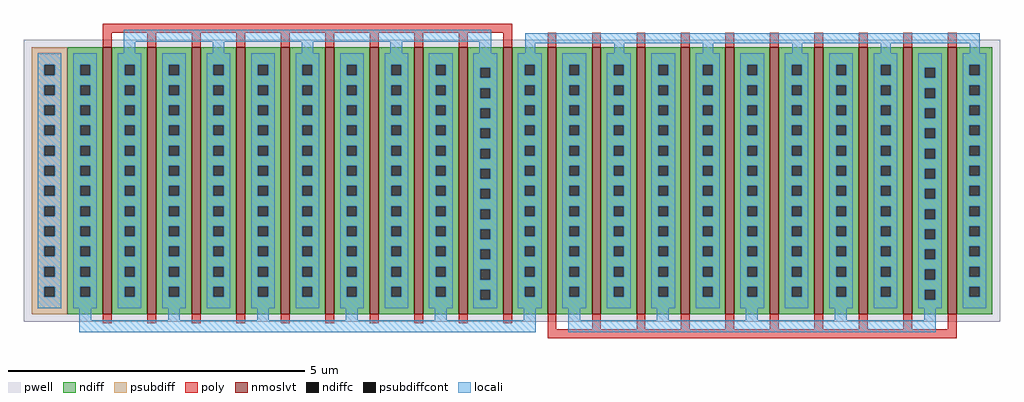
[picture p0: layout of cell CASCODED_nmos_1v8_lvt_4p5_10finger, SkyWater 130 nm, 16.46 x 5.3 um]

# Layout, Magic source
magic
tech sky130A
magscale 1 2
<< poly >>
rect -1824 239 -1794 260
rect -1674 239 -1644 260
rect -1524 239 -1494 260
rect -1374 239 -1344 260
rect -1224 239 -1194 260
rect -1074 239 -1044 260
rect -924 239 -894 260
rect -774 239 -744 260
rect -624 239 -594 260
rect -474 239 -444 260
rect -1824 209 -444 239
<< locali >>
rect -1900 1204 -366 1238
rect -1900 1170 -1866 1204
rect -1599 1170 -1565 1204
rect -1300 1170 -1266 1204
rect -999 1170 -965 1204
rect -700 1170 -666 1204
rect -400 1170 -366 1204
rect -1754 270 -1714 310
rect -1455 270 -1415 310
rect -1155 270 -1115 310
rect -855 270 -815 310
rect -554 270 -514 310
rect -1754 230 -514 270
use nmos_1v8_lvt_4p5_10finger$1$1  nmos_1v8_lvt_4p5_10finger$1$1_0
transform 1 0 -2024 0 1 260
box 54 0 1726 980
use nmos_1v8_lvt_4p5_body_10finger$2  nmos_1v8_lvt_4p5_body_10finger$2_0
transform 1 0 -3524 0 1 260
box -66 -30 1726 1010
<< end >>

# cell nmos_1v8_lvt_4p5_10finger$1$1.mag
magic
tech sky130A
magscale 1 2
<< pwell >>
rect 54 4 1726 956
<< nmoslvt >>
rect 200 30 230 930
rect 350 30 380 930
rect 500 30 530 930
rect 650 30 680 930
rect 800 30 830 930
rect 950 30 980 930
rect 1100 30 1130 930
rect 1250 30 1280 930
rect 1400 30 1430 930
rect 1550 30 1580 930
<< ndiff >>
rect 80 871 200 930
rect 80 837 123 871
rect 157 837 200 871
rect 80 803 200 837
rect 80 769 123 803
rect 157 769 200 803
rect 80 735 200 769
rect 80 701 123 735
rect 157 701 200 735
rect 80 667 200 701
rect 80 633 123 667
rect 157 633 200 667
rect 80 599 200 633
rect 80 565 123 599
rect 157 565 200 599
rect 80 531 200 565
rect 80 497 123 531
rect 157 497 200 531
rect 80 463 200 497
rect 80 429 123 463
rect 157 429 200 463
rect 80 395 200 429
rect 80 361 123 395
rect 157 361 200 395
rect 80 327 200 361
rect 80 293 123 327
rect 157 293 200 327
rect 80 259 200 293
rect 80 225 123 259
rect 157 225 200 259
rect 80 191 200 225
rect 80 157 123 191
rect 157 157 200 191
rect 80 123 200 157
rect 80 89 123 123
rect 157 89 200 123
rect 80 30 200 89
rect 230 871 350 930
rect 230 837 273 871
rect 307 837 350 871
rect 230 803 350 837
rect 230 769 273 803
rect 307 769 350 803
rect 230 735 350 769
rect 230 701 273 735
rect 307 701 350 735
rect 230 667 350 701
rect 230 633 273 667
rect 307 633 350 667
rect 230 599 350 633
rect 230 565 273 599
rect 307 565 350 599
rect 230 531 350 565
rect 230 497 273 531
rect 307 497 350 531
rect 230 463 350 497
rect 230 429 273 463
rect 307 429 350 463
rect 230 395 350 429
rect 230 361 273 395
rect 307 361 350 395
rect 230 327 350 361
rect 230 293 273 327
rect 307 293 350 327
rect 230 259 350 293
rect 230 225 273 259
rect 307 225 350 259
rect 230 191 350 225
rect 230 157 273 191
rect 307 157 350 191
rect 230 123 350 157
rect 230 89 273 123
rect 307 89 350 123
rect 230 30 350 89
rect 380 871 500 930
rect 380 837 423 871
rect 457 837 500 871
rect 380 803 500 837
rect 380 769 423 803
rect 457 769 500 803
rect 380 735 500 769
rect 380 701 423 735
rect 457 701 500 735
rect 380 667 500 701
rect 380 633 423 667
rect 457 633 500 667
rect 380 599 500 633
rect 380 565 423 599
rect 457 565 500 599
rect 380 531 500 565
rect 380 497 423 531
rect 457 497 500 531
rect 380 463 500 497
rect 380 429 423 463
rect 457 429 500 463
rect 380 395 500 429
rect 380 361 423 395
rect 457 361 500 395
rect 380 327 500 361
rect 380 293 423 327
rect 457 293 500 327
rect 380 259 500 293
rect 380 225 423 259
rect 457 225 500 259
rect 380 191 500 225
rect 380 157 423 191
rect 457 157 500 191
rect 380 123 500 157
rect 380 89 423 123
rect 457 89 500 123
rect 380 30 500 89
rect 530 871 650 930
rect 530 837 573 871
rect 607 837 650 871
rect 530 803 650 837
rect 530 769 573 803
rect 607 769 650 803
rect 530 735 650 769
rect 530 701 573 735
rect 607 701 650 735
rect 530 667 650 701
rect 530 633 573 667
rect 607 633 650 667
rect 530 599 650 633
rect 530 565 573 599
rect 607 565 650 599
rect 530 531 650 565
rect 530 497 573 531
rect 607 497 650 531
rect 530 463 650 497
rect 530 429 573 463
rect 607 429 650 463
rect 530 395 650 429
rect 530 361 573 395
rect 607 361 650 395
rect 530 327 650 361
rect 530 293 573 327
rect 607 293 650 327
rect 530 259 650 293
rect 530 225 573 259
rect 607 225 650 259
rect 530 191 650 225
rect 530 157 573 191
rect 607 157 650 191
rect 530 123 650 157
rect 530 89 573 123
rect 607 89 650 123
rect 530 30 650 89
rect 680 871 800 930
rect 680 837 723 871
rect 757 837 800 871
rect 680 803 800 837
rect 680 769 723 803
rect 757 769 800 803
rect 680 735 800 769
rect 680 701 723 735
rect 757 701 800 735
rect 680 667 800 701
rect 680 633 723 667
rect 757 633 800 667
rect 680 599 800 633
rect 680 565 723 599
rect 757 565 800 599
rect 680 531 800 565
rect 680 497 723 531
rect 757 497 800 531
rect 680 463 800 497
rect 680 429 723 463
rect 757 429 800 463
rect 680 395 800 429
rect 680 361 723 395
rect 757 361 800 395
rect 680 327 800 361
rect 680 293 723 327
rect 757 293 800 327
rect 680 259 800 293
rect 680 225 723 259
rect 757 225 800 259
rect 680 191 800 225
rect 680 157 723 191
rect 757 157 800 191
rect 680 123 800 157
rect 680 89 723 123
rect 757 89 800 123
rect 680 30 800 89
rect 830 871 950 930
rect 830 837 873 871
rect 907 837 950 871
rect 830 803 950 837
rect 830 769 873 803
rect 907 769 950 803
rect 830 735 950 769
rect 830 701 873 735
rect 907 701 950 735
rect 830 667 950 701
rect 830 633 873 667
rect 907 633 950 667
rect 830 599 950 633
rect 830 565 873 599
rect 907 565 950 599
rect 830 531 950 565
rect 830 497 873 531
rect 907 497 950 531
rect 830 463 950 497
rect 830 429 873 463
rect 907 429 950 463
rect 830 395 950 429
rect 830 361 873 395
rect 907 361 950 395
rect 830 327 950 361
rect 830 293 873 327
rect 907 293 950 327
rect 830 259 950 293
rect 830 225 873 259
rect 907 225 950 259
rect 830 191 950 225
rect 830 157 873 191
rect 907 157 950 191
rect 830 123 950 157
rect 830 89 873 123
rect 907 89 950 123
rect 830 30 950 89
rect 980 871 1100 930
rect 980 837 1023 871
rect 1057 837 1100 871
rect 980 803 1100 837
rect 980 769 1023 803
rect 1057 769 1100 803
rect 980 735 1100 769
rect 980 701 1023 735
rect 1057 701 1100 735
rect 980 667 1100 701
rect 980 633 1023 667
rect 1057 633 1100 667
rect 980 599 1100 633
rect 980 565 1023 599
rect 1057 565 1100 599
rect 980 531 1100 565
rect 980 497 1023 531
rect 1057 497 1100 531
rect 980 463 1100 497
rect 980 429 1023 463
rect 1057 429 1100 463
rect 980 395 1100 429
rect 980 361 1023 395
rect 1057 361 1100 395
rect 980 327 1100 361
rect 980 293 1023 327
rect 1057 293 1100 327
rect 980 259 1100 293
rect 980 225 1023 259
rect 1057 225 1100 259
rect 980 191 1100 225
rect 980 157 1023 191
rect 1057 157 1100 191
rect 980 123 1100 157
rect 980 89 1023 123
rect 1057 89 1100 123
rect 980 30 1100 89
rect 1130 871 1250 930
rect 1130 837 1173 871
rect 1207 837 1250 871
rect 1130 803 1250 837
rect 1130 769 1173 803
rect 1207 769 1250 803
rect 1130 735 1250 769
rect 1130 701 1173 735
rect 1207 701 1250 735
rect 1130 667 1250 701
rect 1130 633 1173 667
rect 1207 633 1250 667
rect 1130 599 1250 633
rect 1130 565 1173 599
rect 1207 565 1250 599
rect 1130 531 1250 565
rect 1130 497 1173 531
rect 1207 497 1250 531
rect 1130 463 1250 497
rect 1130 429 1173 463
rect 1207 429 1250 463
rect 1130 395 1250 429
rect 1130 361 1173 395
rect 1207 361 1250 395
rect 1130 327 1250 361
rect 1130 293 1173 327
rect 1207 293 1250 327
rect 1130 259 1250 293
rect 1130 225 1173 259
rect 1207 225 1250 259
rect 1130 191 1250 225
rect 1130 157 1173 191
rect 1207 157 1250 191
rect 1130 123 1250 157
rect 1130 89 1173 123
rect 1207 89 1250 123
rect 1130 30 1250 89
rect 1280 871 1400 930
rect 1280 837 1323 871
rect 1357 837 1400 871
rect 1280 803 1400 837
rect 1280 769 1323 803
rect 1357 769 1400 803
rect 1280 735 1400 769
rect 1280 701 1323 735
rect 1357 701 1400 735
rect 1280 667 1400 701
rect 1280 633 1323 667
rect 1357 633 1400 667
rect 1280 599 1400 633
rect 1280 565 1323 599
rect 1357 565 1400 599
rect 1280 531 1400 565
rect 1280 497 1323 531
rect 1357 497 1400 531
rect 1280 463 1400 497
rect 1280 429 1323 463
rect 1357 429 1400 463
rect 1280 395 1400 429
rect 1280 361 1323 395
rect 1357 361 1400 395
rect 1280 327 1400 361
rect 1280 293 1323 327
rect 1357 293 1400 327
rect 1280 259 1400 293
rect 1280 225 1323 259
rect 1357 225 1400 259
rect 1280 191 1400 225
rect 1280 157 1323 191
rect 1357 157 1400 191
rect 1280 123 1400 157
rect 1280 89 1323 123
rect 1357 89 1400 123
rect 1280 30 1400 89
rect 1430 861 1550 930
rect 1430 827 1473 861
rect 1507 827 1550 861
rect 1430 793 1550 827
rect 1430 759 1473 793
rect 1507 759 1550 793
rect 1430 725 1550 759
rect 1430 691 1473 725
rect 1507 691 1550 725
rect 1430 657 1550 691
rect 1430 623 1473 657
rect 1507 623 1550 657
rect 1430 589 1550 623
rect 1430 555 1473 589
rect 1507 555 1550 589
rect 1430 521 1550 555
rect 1430 487 1473 521
rect 1507 487 1550 521
rect 1430 453 1550 487
rect 1430 419 1473 453
rect 1507 419 1550 453
rect 1430 385 1550 419
rect 1430 351 1473 385
rect 1507 351 1550 385
rect 1430 317 1550 351
rect 1430 283 1473 317
rect 1507 283 1550 317
rect 1430 249 1550 283
rect 1430 215 1473 249
rect 1507 215 1550 249
rect 1430 181 1550 215
rect 1430 147 1473 181
rect 1507 147 1550 181
rect 1430 113 1550 147
rect 1430 79 1473 113
rect 1507 79 1550 113
rect 1430 30 1550 79
rect 1580 871 1700 930
rect 1580 837 1623 871
rect 1657 837 1700 871
rect 1580 803 1700 837
rect 1580 769 1623 803
rect 1657 769 1700 803
rect 1580 735 1700 769
rect 1580 701 1623 735
rect 1657 701 1700 735
rect 1580 667 1700 701
rect 1580 633 1623 667
rect 1657 633 1700 667
rect 1580 599 1700 633
rect 1580 565 1623 599
rect 1657 565 1700 599
rect 1580 531 1700 565
rect 1580 497 1623 531
rect 1657 497 1700 531
rect 1580 463 1700 497
rect 1580 429 1623 463
rect 1657 429 1700 463
rect 1580 395 1700 429
rect 1580 361 1623 395
rect 1657 361 1700 395
rect 1580 327 1700 361
rect 1580 293 1623 327
rect 1657 293 1700 327
rect 1580 259 1700 293
rect 1580 225 1623 259
rect 1657 225 1700 259
rect 1580 191 1700 225
rect 1580 157 1623 191
rect 1657 157 1700 191
rect 1580 123 1700 157
rect 1580 89 1623 123
rect 1657 89 1700 123
rect 1580 30 1700 89
<< ndiffc >>
rect 123 837 157 871
rect 123 769 157 803
rect 123 701 157 735
rect 123 633 157 667
rect 123 565 157 599
rect 123 497 157 531
rect 123 429 157 463
rect 123 361 157 395
rect 123 293 157 327
rect 123 225 157 259
rect 123 157 157 191
rect 123 89 157 123
rect 273 837 307 871
rect 273 769 307 803
rect 273 701 307 735
rect 273 633 307 667
rect 273 565 307 599
rect 273 497 307 531
rect 273 429 307 463
rect 273 361 307 395
rect 273 293 307 327
rect 273 225 307 259
rect 273 157 307 191
rect 273 89 307 123
rect 423 837 457 871
rect 423 769 457 803
rect 423 701 457 735
rect 423 633 457 667
rect 423 565 457 599
rect 423 497 457 531
rect 423 429 457 463
rect 423 361 457 395
rect 423 293 457 327
rect 423 225 457 259
rect 423 157 457 191
rect 423 89 457 123
rect 573 837 607 871
rect 573 769 607 803
rect 573 701 607 735
rect 573 633 607 667
rect 573 565 607 599
rect 573 497 607 531
rect 573 429 607 463
rect 573 361 607 395
rect 573 293 607 327
rect 573 225 607 259
rect 573 157 607 191
rect 573 89 607 123
rect 723 837 757 871
rect 723 769 757 803
rect 723 701 757 735
rect 723 633 757 667
rect 723 565 757 599
rect 723 497 757 531
rect 723 429 757 463
rect 723 361 757 395
rect 723 293 757 327
rect 723 225 757 259
rect 723 157 757 191
rect 723 89 757 123
rect 873 837 907 871
rect 873 769 907 803
rect 873 701 907 735
rect 873 633 907 667
rect 873 565 907 599
rect 873 497 907 531
rect 873 429 907 463
rect 873 361 907 395
rect 873 293 907 327
rect 873 225 907 259
rect 873 157 907 191
rect 873 89 907 123
rect 1023 837 1057 871
rect 1023 769 1057 803
rect 1023 701 1057 735
rect 1023 633 1057 667
rect 1023 565 1057 599
rect 1023 497 1057 531
rect 1023 429 1057 463
rect 1023 361 1057 395
rect 1023 293 1057 327
rect 1023 225 1057 259
rect 1023 157 1057 191
rect 1023 89 1057 123
rect 1173 837 1207 871
rect 1173 769 1207 803
rect 1173 701 1207 735
rect 1173 633 1207 667
rect 1173 565 1207 599
rect 1173 497 1207 531
rect 1173 429 1207 463
rect 1173 361 1207 395
rect 1173 293 1207 327
rect 1173 225 1207 259
rect 1173 157 1207 191
rect 1173 89 1207 123
rect 1323 837 1357 871
rect 1323 769 1357 803
rect 1323 701 1357 735
rect 1323 633 1357 667
rect 1323 565 1357 599
rect 1323 497 1357 531
rect 1323 429 1357 463
rect 1323 361 1357 395
rect 1323 293 1357 327
rect 1323 225 1357 259
rect 1323 157 1357 191
rect 1323 89 1357 123
rect 1473 827 1507 861
rect 1473 759 1507 793
rect 1473 691 1507 725
rect 1473 623 1507 657
rect 1473 555 1507 589
rect 1473 487 1507 521
rect 1473 419 1507 453
rect 1473 351 1507 385
rect 1473 283 1507 317
rect 1473 215 1507 249
rect 1473 147 1507 181
rect 1473 79 1507 113
rect 1623 837 1657 871
rect 1623 769 1657 803
rect 1623 701 1657 735
rect 1623 633 1657 667
rect 1623 565 1657 599
rect 1623 497 1657 531
rect 1623 429 1657 463
rect 1623 361 1657 395
rect 1623 293 1657 327
rect 1623 225 1657 259
rect 1623 157 1657 191
rect 1623 89 1657 123
<< poly >>
rect 200 930 230 980
rect 350 930 380 980
rect 500 930 530 980
rect 650 930 680 980
rect 800 930 830 980
rect 950 930 980 980
rect 1100 930 1130 980
rect 1250 930 1280 980
rect 1400 930 1430 980
rect 1550 930 1580 980
rect 200 0 230 30
rect 350 0 380 30
rect 500 0 530 30
rect 650 0 680 30
rect 800 0 830 30
rect 950 0 980 30
rect 1100 0 1130 30
rect 1250 0 1280 30
rect 1400 0 1430 30
rect 1550 0 1580 30
<< locali >>
rect 100 871 180 910
rect 100 837 123 871
rect 157 837 180 871
rect 100 803 180 837
rect 100 769 123 803
rect 157 769 180 803
rect 100 735 180 769
rect 100 701 123 735
rect 157 701 180 735
rect 100 667 180 701
rect 100 633 123 667
rect 157 633 180 667
rect 100 599 180 633
rect 100 565 123 599
rect 157 565 180 599
rect 100 531 180 565
rect 100 497 123 531
rect 157 497 180 531
rect 100 463 180 497
rect 100 429 123 463
rect 157 429 180 463
rect 100 395 180 429
rect 100 361 123 395
rect 157 361 180 395
rect 100 327 180 361
rect 100 293 123 327
rect 157 293 180 327
rect 100 259 180 293
rect 100 225 123 259
rect 157 225 180 259
rect 100 191 180 225
rect 100 157 123 191
rect 157 157 180 191
rect 100 123 180 157
rect 100 89 123 123
rect 157 89 180 123
rect 100 50 180 89
rect 250 871 330 910
rect 250 837 273 871
rect 307 837 330 871
rect 250 803 330 837
rect 250 769 273 803
rect 307 769 330 803
rect 250 735 330 769
rect 250 701 273 735
rect 307 701 330 735
rect 250 667 330 701
rect 250 633 273 667
rect 307 633 330 667
rect 250 599 330 633
rect 250 565 273 599
rect 307 565 330 599
rect 250 531 330 565
rect 250 497 273 531
rect 307 497 330 531
rect 250 463 330 497
rect 250 429 273 463
rect 307 429 330 463
rect 250 395 330 429
rect 250 361 273 395
rect 307 361 330 395
rect 250 327 330 361
rect 250 293 273 327
rect 307 293 330 327
rect 250 259 330 293
rect 250 225 273 259
rect 307 225 330 259
rect 250 191 330 225
rect 250 157 273 191
rect 307 157 330 191
rect 250 123 330 157
rect 250 89 273 123
rect 307 89 330 123
rect 250 50 330 89
rect 400 871 480 910
rect 400 837 423 871
rect 457 837 480 871
rect 400 803 480 837
rect 400 769 423 803
rect 457 769 480 803
rect 400 735 480 769
rect 400 701 423 735
rect 457 701 480 735
rect 400 667 480 701
rect 400 633 423 667
rect 457 633 480 667
rect 400 599 480 633
rect 400 565 423 599
rect 457 565 480 599
rect 400 531 480 565
rect 400 497 423 531
rect 457 497 480 531
rect 400 463 480 497
rect 400 429 423 463
rect 457 429 480 463
rect 400 395 480 429
rect 400 361 423 395
rect 457 361 480 395
rect 400 327 480 361
rect 400 293 423 327
rect 457 293 480 327
rect 400 259 480 293
rect 400 225 423 259
rect 457 225 480 259
rect 400 191 480 225
rect 400 157 423 191
rect 457 157 480 191
rect 400 123 480 157
rect 400 89 423 123
rect 457 89 480 123
rect 400 50 480 89
rect 550 871 630 910
rect 550 837 573 871
rect 607 837 630 871
rect 550 803 630 837
rect 550 769 573 803
rect 607 769 630 803
rect 550 735 630 769
rect 550 701 573 735
rect 607 701 630 735
rect 550 667 630 701
rect 550 633 573 667
rect 607 633 630 667
rect 550 599 630 633
rect 550 565 573 599
rect 607 565 630 599
rect 550 531 630 565
rect 550 497 573 531
rect 607 497 630 531
rect 550 463 630 497
rect 550 429 573 463
rect 607 429 630 463
rect 550 395 630 429
rect 550 361 573 395
rect 607 361 630 395
rect 550 327 630 361
rect 550 293 573 327
rect 607 293 630 327
rect 550 259 630 293
rect 550 225 573 259
rect 607 225 630 259
rect 550 191 630 225
rect 550 157 573 191
rect 607 157 630 191
rect 550 123 630 157
rect 550 89 573 123
rect 607 89 630 123
rect 550 50 630 89
rect 700 871 780 910
rect 700 837 723 871
rect 757 837 780 871
rect 700 803 780 837
rect 700 769 723 803
rect 757 769 780 803
rect 700 735 780 769
rect 700 701 723 735
rect 757 701 780 735
rect 700 667 780 701
rect 700 633 723 667
rect 757 633 780 667
rect 700 599 780 633
rect 700 565 723 599
rect 757 565 780 599
rect 700 531 780 565
rect 700 497 723 531
rect 757 497 780 531
rect 700 463 780 497
rect 700 429 723 463
rect 757 429 780 463
rect 700 395 780 429
rect 700 361 723 395
rect 757 361 780 395
rect 700 327 780 361
rect 700 293 723 327
rect 757 293 780 327
rect 700 259 780 293
rect 700 225 723 259
rect 757 225 780 259
rect 700 191 780 225
rect 700 157 723 191
rect 757 157 780 191
rect 700 123 780 157
rect 700 89 723 123
rect 757 89 780 123
rect 700 50 780 89
rect 850 871 930 910
rect 850 837 873 871
rect 907 837 930 871
rect 850 803 930 837
rect 850 769 873 803
rect 907 769 930 803
rect 850 735 930 769
rect 850 701 873 735
rect 907 701 930 735
rect 850 667 930 701
rect 850 633 873 667
rect 907 633 930 667
rect 850 599 930 633
rect 850 565 873 599
rect 907 565 930 599
rect 850 531 930 565
rect 850 497 873 531
rect 907 497 930 531
rect 850 463 930 497
rect 850 429 873 463
rect 907 429 930 463
rect 850 395 930 429
rect 850 361 873 395
rect 907 361 930 395
rect 850 327 930 361
rect 850 293 873 327
rect 907 293 930 327
rect 850 259 930 293
rect 850 225 873 259
rect 907 225 930 259
rect 850 191 930 225
rect 850 157 873 191
rect 907 157 930 191
rect 850 123 930 157
rect 850 89 873 123
rect 907 89 930 123
rect 850 50 930 89
rect 1000 871 1080 910
rect 1000 837 1023 871
rect 1057 837 1080 871
rect 1000 803 1080 837
rect 1000 769 1023 803
rect 1057 769 1080 803
rect 1000 735 1080 769
rect 1000 701 1023 735
rect 1057 701 1080 735
rect 1000 667 1080 701
rect 1000 633 1023 667
rect 1057 633 1080 667
rect 1000 599 1080 633
rect 1000 565 1023 599
rect 1057 565 1080 599
rect 1000 531 1080 565
rect 1000 497 1023 531
rect 1057 497 1080 531
rect 1000 463 1080 497
rect 1000 429 1023 463
rect 1057 429 1080 463
rect 1000 395 1080 429
rect 1000 361 1023 395
rect 1057 361 1080 395
rect 1000 327 1080 361
rect 1000 293 1023 327
rect 1057 293 1080 327
rect 1000 259 1080 293
rect 1000 225 1023 259
rect 1057 225 1080 259
rect 1000 191 1080 225
rect 1000 157 1023 191
rect 1057 157 1080 191
rect 1000 123 1080 157
rect 1000 89 1023 123
rect 1057 89 1080 123
rect 1000 50 1080 89
rect 1150 871 1230 910
rect 1150 837 1173 871
rect 1207 837 1230 871
rect 1150 803 1230 837
rect 1150 769 1173 803
rect 1207 769 1230 803
rect 1150 735 1230 769
rect 1150 701 1173 735
rect 1207 701 1230 735
rect 1150 667 1230 701
rect 1150 633 1173 667
rect 1207 633 1230 667
rect 1150 599 1230 633
rect 1150 565 1173 599
rect 1207 565 1230 599
rect 1150 531 1230 565
rect 1150 497 1173 531
rect 1207 497 1230 531
rect 1150 463 1230 497
rect 1150 429 1173 463
rect 1207 429 1230 463
rect 1150 395 1230 429
rect 1150 361 1173 395
rect 1207 361 1230 395
rect 1150 327 1230 361
rect 1150 293 1173 327
rect 1207 293 1230 327
rect 1150 259 1230 293
rect 1150 225 1173 259
rect 1207 225 1230 259
rect 1150 191 1230 225
rect 1150 157 1173 191
rect 1207 157 1230 191
rect 1150 123 1230 157
rect 1150 89 1173 123
rect 1207 89 1230 123
rect 1150 50 1230 89
rect 1300 871 1380 910
rect 1300 837 1323 871
rect 1357 837 1380 871
rect 1300 803 1380 837
rect 1300 769 1323 803
rect 1357 769 1380 803
rect 1300 735 1380 769
rect 1300 701 1323 735
rect 1357 701 1380 735
rect 1300 667 1380 701
rect 1300 633 1323 667
rect 1357 633 1380 667
rect 1300 599 1380 633
rect 1300 565 1323 599
rect 1357 565 1380 599
rect 1300 531 1380 565
rect 1300 497 1323 531
rect 1357 497 1380 531
rect 1300 463 1380 497
rect 1300 429 1323 463
rect 1357 429 1380 463
rect 1300 395 1380 429
rect 1300 361 1323 395
rect 1357 361 1380 395
rect 1300 327 1380 361
rect 1300 293 1323 327
rect 1357 293 1380 327
rect 1300 259 1380 293
rect 1300 225 1323 259
rect 1357 225 1380 259
rect 1300 191 1380 225
rect 1300 157 1323 191
rect 1357 157 1380 191
rect 1300 123 1380 157
rect 1300 89 1323 123
rect 1357 89 1380 123
rect 1300 50 1380 89
rect 1450 861 1530 910
rect 1450 827 1473 861
rect 1507 827 1530 861
rect 1450 793 1530 827
rect 1450 759 1473 793
rect 1507 759 1530 793
rect 1450 725 1530 759
rect 1450 691 1473 725
rect 1507 691 1530 725
rect 1450 657 1530 691
rect 1450 623 1473 657
rect 1507 623 1530 657
rect 1450 589 1530 623
rect 1450 555 1473 589
rect 1507 555 1530 589
rect 1450 521 1530 555
rect 1450 487 1473 521
rect 1507 487 1530 521
rect 1450 453 1530 487
rect 1450 419 1473 453
rect 1507 419 1530 453
rect 1450 385 1530 419
rect 1450 351 1473 385
rect 1507 351 1530 385
rect 1450 317 1530 351
rect 1450 283 1473 317
rect 1507 283 1530 317
rect 1450 249 1530 283
rect 1450 215 1473 249
rect 1507 215 1530 249
rect 1450 181 1530 215
rect 1450 147 1473 181
rect 1507 147 1530 181
rect 1450 113 1530 147
rect 1450 79 1473 113
rect 1507 79 1530 113
rect 1450 50 1530 79
rect 1600 871 1680 910
rect 1600 837 1623 871
rect 1657 837 1680 871
rect 1600 803 1680 837
rect 1600 769 1623 803
rect 1657 769 1680 803
rect 1600 735 1680 769
rect 1600 701 1623 735
rect 1657 701 1680 735
rect 1600 667 1680 701
rect 1600 633 1623 667
rect 1657 633 1680 667
rect 1600 599 1680 633
rect 1600 565 1623 599
rect 1657 565 1680 599
rect 1600 531 1680 565
rect 1600 497 1623 531
rect 1657 497 1680 531
rect 1600 463 1680 497
rect 1600 429 1623 463
rect 1657 429 1680 463
rect 1600 395 1680 429
rect 1600 361 1623 395
rect 1657 361 1680 395
rect 1600 327 1680 361
rect 1600 293 1623 327
rect 1657 293 1680 327
rect 1600 259 1680 293
rect 1600 225 1623 259
rect 1657 225 1680 259
rect 1600 191 1680 225
rect 1600 157 1623 191
rect 1657 157 1680 191
rect 1600 123 1680 157
rect 1600 89 1623 123
rect 1657 89 1680 123
rect 1600 50 1680 89
<< end >>

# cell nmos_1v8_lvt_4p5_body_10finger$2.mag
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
